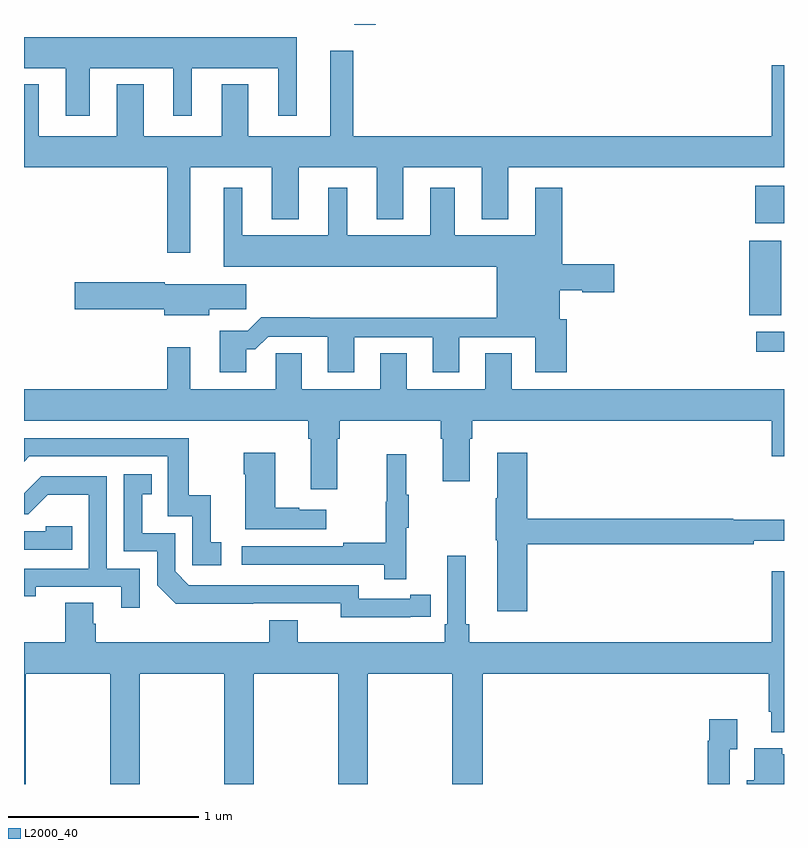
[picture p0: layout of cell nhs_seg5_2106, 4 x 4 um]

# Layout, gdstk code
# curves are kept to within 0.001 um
import gdstk
lib = gdstk.Library(unit=1e-6, precision=1e-09)
def R(c, l, rs):  # rectangles x0, y0, x1, y1
    for r in rs: c.add(gdstk.rectangle(r[:2], r[2:], *l))
def P(c, l, *ps):  # polygons
    for p in ps: c.add(gdstk.Polygon(p, *l))
L2000_40 = (2000, 40)

nhs_seg5_2106 = lib.new_cell('nhs_seg5_2106')
R(nhs_seg5_2106, L2000_40, [(236.853,905.075,237,905.179), (236.816,905.267,236.986,905.659), (236.849,905.75,237,905.949), (234.737,906.794,234.85,906.799)])
P(nhs_seg5_2106, L2000_40, [(233.347,906.566),(233.786,906.566),(233.786,906.315),(233.884,906.315),(233.884,906.566),(234.338,906.566),(234.338,906.315),(234.436,906.315),(234.436,906.73),(233,906.73),(233,906.566),(233.219,906.566),(233.219,906.315),(233.347,906.315)],
  [(233.875,906.044),(234.305,906.044),(234.305,905.771),(234.445,905.771),(234.445,906.044),(234.857,906.044),(234.857,905.771),(234.997,905.771),(234.997,906.044),(235.409,906.044),(235.409,905.771),(235.549,905.771),(235.549,906.044),(237,906.044),(237,906.583),(236.936,906.583),(236.936,906.208),(234.733,906.208),(234.733,906.658),(234.611,906.658),(234.611,906.208),(234.181,906.208),(234.181,906.481),(234.041,906.481),(234.041,906.208),(233.629,906.208),(233.629,906.481),(233.489,906.481),(233.489,906.208),(233.077,906.208),(233.077,906.481),(233,906.481),(233,906.044),(233.754,906.044),(233.754,905.595),(233.875,905.595)],
  [(234.169,905.087),(234.218,905.087),(234.285,905.154),(234.599,905.154),(234.599,904.965),(234.739,904.965),(234.739,905.151),(235.151,905.151),(235.151,904.965),(235.291,904.965),(235.291,905.151),(235.691,905.151),(235.691,904.965),(235.856,904.965),(235.856,905.244),(235.819,905.244),(235.819,905.399),(235.939,905.399),(235.939,905.387),(236.107,905.387),(236.107,905.534),(235.832,905.534),(235.832,905.938),(235.691,905.938),(235.691,905.686),(235.267,905.686),(235.267,905.938),(235.139,905.938),(235.139,905.686),(234.7,905.686),(234.7,905.938),(234.602,905.938),(234.602,905.686),(234.148,905.686),(234.148,905.938),(234.05,905.938),(234.05,905.522),(235.487,905.522),(235.487,905.252),(234.503,905.252),(234.503,905.255),(234.248,905.255),(234.178,905.185),(234.029,905.185),(234.029,904.965),(234.169,904.965)],
  [(233.974,905.299),(234.169,905.299),(234.169,905.428),(233.742,905.428),(233.742,905.441),(233.268,905.441),(233.268,905.299),(233.738,905.299),(233.738,905.267),(233.974,905.267)],
  [(234.649,904.616),(234.662,904.616),(234.662,904.712),(235.193,904.712),(235.193,904.616),(235.205,904.616),(235.205,904.392),(235.345,904.392),(235.345,904.616),(235.358,904.616),(235.358,904.712),(236.936,904.712),(236.936,904.524),(237,904.524),(237,904.876),(235.567,904.876),(235.567,905.066),(235.427,905.066),(235.427,904.876),(235.015,904.876),(235.015,905.066),(234.875,905.066),(234.875,904.876),(234.463,904.876),(234.463,905.066),(234.324,905.066),(234.324,904.876),(233.875,904.876),(233.875,905.098),(233.754,905.098),(233.754,904.876),(233,904.876),(233,904.712),(234.497,904.712),(234.497,904.616),(234.509,904.616),(234.509,904.35),(234.649,904.35)],
  [(234.037,904.071),(233.984,904.071),(233.984,904.318),(233.866,904.318),(233.866,904.62),(233,904.62),(233,904.496),(233.028,904.524),(233.757,904.524),(233.757,904.209),(233.886,904.209),(233.886,903.951),(234.037,903.951)],
  [(234.592,904.243),(234.449,904.243),(234.449,904.253),(234.322,904.253),(234.322,904.543),(234.157,904.543),(234.157,904.43),(234.164,904.43),(234.164,904.139),(234.592,904.139)],
  [(235.649,904.06),(236.84,904.06),(236.84,904.079),(237,904.079),(237,904.189),(236.732,904.189),(236.732,904.196),(235.649,904.196),(235.649,904.543),(235.49,904.543),(235.49,904.304),(235.483,904.304),(235.483,904.083),(235.49,904.083),(235.49,903.708),(235.649,903.708)],
  [(235.013,904.147),(235.024,904.147),(235.024,904.321),(235.013,904.321),(235.013,904.534),(234.91,904.534),(234.91,904.284),(234.903,904.284),(234.903,904.07),(234.679,904.07),(234.679,904.05),(234.147,904.05),(234.147,903.954),(234.895,903.954),(234.895,903.876),(235.013,903.876)],
  [(235.034,903.678),(235.142,903.678),(235.142,903.794),(235.034,903.794),(235.034,903.774),(234.762,903.774),(234.762,903.846),(233.868,903.846),(233.796,903.918),(233.796,904.119),(233.623,904.119),(233.623,904.323),(233.672,904.323),(233.672,904.429),(233.526,904.429),(233.526,904.023),(233.7,904.023),(233.7,903.846),(233.798,903.749),(234.666,903.75),(234.666,903.677)],
  [(233.61,903.933),(233.436,903.933),(233.436,904.419),(233.09,904.419),(233,904.329),(233,904.218),(233.022,904.218),(233.126,904.322),(233.34,904.322),(233.34,903.933),(233,903.933),(233,903.786),(233.062,903.786),(233.062,903.837),(233.513,903.837),(233.513,903.726),(233.61,903.726)],
  [(233.255,904.155),(233.115,904.155),(233.115,904.128),(233,904.128),(233,904.032),(233.255,904.032)],
  [(233.378,903.642),(233.365,903.642),(233.365,903.752),(233.218,903.752),(233.218,903.544),(233,903.544),(233,902.799),(233.01,902.799),(233.01,903.38),(233.455,903.38),(233.455,902.799),(233.61,902.799),(233.61,903.38),(234.055,903.38),(234.055,902.799),(234.21,902.799),(234.21,903.38),(234.655,903.38),(234.655,902.799),(234.81,902.799),(234.81,903.38),(235.255,903.38),(235.255,902.799),(235.415,902.799),(235.415,903.38),(236.921,903.38),(236.921,903.178),(236.933,903.178),(236.933,903.071),(237,903.071),(237,903.919),(236.936,903.919),(236.936,903.544),(235.343,903.544),(235.343,903.64),(235.324,903.64),(235.324,904),(235.227,904),(235.227,903.64),(235.214,903.64),(235.214,903.544),(234.442,903.544),(234.442,903.661),(234.29,903.661),(234.29,903.544),(233.378,903.544)],
  [(236.715,902.983),(236.755,902.983),(236.755,903.139),(236.607,903.139),(236.607,903.026),(236.599,903.026),(236.599,902.799),(236.715,902.799)],
  [(237,902.955),(236.99,902.955),(236.99,902.986),(236.843,902.986),(236.843,902.818),(236.804,902.818),(236.804,902.799),(237,902.799)])

lib.write_gds('nhs_seg5_2106.gds')
